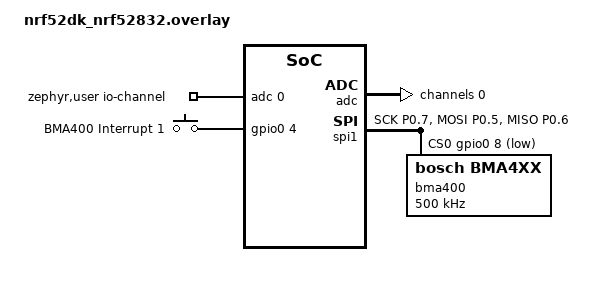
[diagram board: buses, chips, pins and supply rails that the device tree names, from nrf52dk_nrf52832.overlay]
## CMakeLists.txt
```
#
# Copyright (c) 2024 Nordic Semiconductor
#
# SPDX-License-Identifier: LicenseRef-Nordic-5-Clause
#

cmake_minimum_required(VERSION 3.20.0)
find_package(Zephyr REQUIRED HINTS $ENV{ZEPHYR_BASE})
project(bma400_sample)

add_subdirectory(ei-v8)
target_sources(app PRIVATE src/main.c)
target_sources(app PRIVATE src/bma400.c)
target_sources(app PRIVATE src/run_nn.c)
target_sources(app PRIVATE src/ei_glue_v4.cpp)
# Add CMSIS-NN include directories
target_include_directories(app PRIVATE
    ${CMAKE_CURRENT_SOURCE_DIR}/include
)
zephyr_link_libraries(stdc++)
zephyr_link_libraries(supc++)
```

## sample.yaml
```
sample:
  description: nRF Connect SDK Intermediate Course by Nordic Developer Academy (https://academy.nordicsemi.com/)
  name: nRF Connect SDK Intermediate Course - Lesson 5 Exercise 1
  
common: 
    sysbuild: true
    build_only: true
    skip: true
    integration_platforms: 
      - nrf52dk/nrf52832
      - nrf52833dk/nrf52833
      - nrf52840dk/nrf52840
      - nrf9160dk/nrf9160/ns
      - nrf9161dk/nrf9161/ns
      - nrf9151dk/nrf9151/ns
      - nrf5340dk/nrf5340/cpuapp
      - nrf5340dk/nrf5340/cpuapp/ns
      - nrf54l15dk/nrf54l15/cpuapp
      - nrf54l15dk/nrf54l15/cpuapp/ns
      - nrf7002dk/nrf5340/cpuapp
      - nrf7002dk/nrf5340/cpuapp/ns
    platform_exclude:
      - native_sim
    
tests:
  ncs_inter.l5.e1: {}
```

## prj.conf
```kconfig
# # PCB
CONFIG_STATIC_INIT_GNU=y

# # SPI and GPIO
# CONFIG_GPIO=y
# CONFIG_SPI=y

# # Serial driver (needed by console subsystem); route output to RTT not UART
# CONFIG_SERIAL=n
# CONFIG_CONSOLE=n
# CONFIG_UART_CONSOLE=n

# # Logging via RTT
# CONFIG_LOG=y
# CONFIG_RTT_CONSOLE=y


# # Power management
# CONFIG_PM_DEVICE=y
# CONFIG_PM_DEVICE_RUNTIME=y

# # BLE (GATT peripheral for web dashboard)
# CONFIG_BT=y
# CONFIG_BT_PERIPHERAL=y
# CONFIG_BT_DEVICE_NAME="AccelDevice"

# # Larger BLE buffers to avoid "Event buffer too small" / -12 / kernel panic
# # RX buffer must fit max HCI event (2 + 255 = 257). Use ACL size >= 257 so BT_BUF_RX_SIZE >= 257.


# # FPU for ML inference
# CONFIG_FPU=y

# # Stack
# CONFIG_MAIN_STACK_SIZE=1024

# # Disable MPU stack guard (nRF52832 has only 8 MPU regions)
# CONFIG_HW_STACK_PROTECTION=n

# # ADC (enabled for solar PCB overlay)
# CONFIG_ADC=y
# CONFIG_BT_CTLR_TX_PWR_MINUS_20=y


CONFIG_LOG=y
CONFIG_LOG_MODE_IMMEDIATE=y
CONFIG_THREAD_NAME=y
 
# BLE
CONFIG_BT=y
CONFIG_BT_DEVICE_NAME="BHAR"
CONFIG_BT_OBSERVER=y
CONFIG_BT_SCAN=y
CONFIG_BT_SCAN_FILTER_ENABLE=y
CONFIG_BT_CENTRAL=y
CONFIG_BT_PERIPHERAL=y
CONFIG_BT_SCAN_ADDRESS_CNT=5
CONFIG_MAIN_STACK_SIZE=16384
CONFIG_BT_RX_STACK_SIZE=4096
# CONFIG_LOG_BUFFER_SIZE=10120
```

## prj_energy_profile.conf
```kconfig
# Enable logging so ENERGY_PROFILE summary lines appear on RTT when running ./jlink.sh
# Build with: west build -b nrf52dk/nrf52832 -d build -- -DEXTRA_CONF_FILE=prj_energy_profile.conf
# Or from project root: ./build.sh then reconfigure with -DEXTRA_CONF_FILE=prj_energy_profile.conf
CONFIG_LOG=y
CONFIG_LOG_DEFAULT_LEVEL=3
```

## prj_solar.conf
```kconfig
# Solar-optimized build: reduce logging to save power.
# Use with: west build -- -DEXTRA_CONF_FILES=prj_solar.conf
# (merges with prj.conf; log level 1 = errors only).
CONFIG_LOG_DEFAULT_LEVEL=1
```

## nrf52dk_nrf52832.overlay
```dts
/* STEP 2.1 - Create an overlay file for your board */

#include <zephyr/dt-bindings/regulator/nrf5x.h>

/{
	zephyr,user {
		io-channels = <&adc 0>;
	};
};

&adc {
	#address-cells = <1>;
	#size-cells = <0>;
	status = "okay";
	channel@0 {
		reg = <0>;
		zephyr,gain = "ADC_GAIN_1_3";
		zephyr,reference = "ADC_REF_INTERNAL";
		zephyr,acquisition-time = <ADC_ACQ_TIME(ADC_ACQ_TIME_MICROSECONDS, 10)>;
		zephyr,input-positive = <NRF_SAADC_AIN0>; /* P0.02 for nRF52xx, P0.04 for nRF53xx */
		zephyr,resolution = <12>;
	};
};


/{
    inputs {
        compatible = "gpio-keys";
        bmaint1: bmaint_1 {
            gpios = <&gpio0 4 (GPIO_PULL_DOWN | GPIO_ACTIVE_HIGH)>;
            label = "BMA400 Interrupt 1";
        };
    };

    aliases {
        int1 = &bmaint1;
    };
};

/* STEP 2.2 - Change the pin configuration */
&i2c0 {	status = "disabled";};
&spi0 {	status = "disabled";};
&i2c1 {	status = "disabled";}; 
&uart0 { status = "disabled";}; 
&spi2 { status = "disabled";};
&pwm0 { status = "disabled";};
&gpio0 {
	status = "okay";
	sense-edge-mask = < 0xffffffff >;
};
&spi1 {
 compatible = "nordic,nrf-spi"; //using SPI as per ERRATA 58
 status = "okay";
 pinctrl-0 = <&spi1_default>;
 pinctrl-1 = <&spi1_sleep>;
 pinctrl-names = "default", "sleep";
 cs-gpios = <&gpio0 8 GPIO_ACTIVE_LOW>;
 bma400: bma400@0 {
 compatible = "bosch,bma4xx";
 reg = <0>;
 spi-max-frequency = <500000>;
 };
};

&pinctrl {
 spi1_default: spi1_default {
 group1 {
 psels = <NRF_PSEL(SPIM_SCK, 0, 7)>, 
 <NRF_PSEL(SPIM_MOSI, 0, 5)>,
 <NRF_PSEL(SPIM_MISO, 0, 6)>;
 };
 };
 spi1_sleep: spi1_sleep {
 group1 {
 psels = <NRF_PSEL(SPIM_SCK, 0, 7)>,
 <NRF_PSEL(SPIM_MOSI, 0, 5)>,
 <NRF_PSEL(SPIM_MISO, 0, 6)>;
 low-power-enable;
 };
 };
};

/* nRF52 DC-DC: lower average current for solar / limited supply */
&reg {
	regulator-initial-mode = <NRF5X_REG_MODE_DCDC>;
};
```

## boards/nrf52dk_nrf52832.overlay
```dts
/*
 * Devicetree overlay for west builds with board `nrf52dk/nrf52832`.
 *
 * This file was missing on branch scanningOnNewBoard, which broke CMake with:
 *   "boards/nrf52dk_nrf52832.overlay: No such file or directory"
 * because an older build cache still referenced this path.
 *
 * The BLE advertising scanner firmware does not require custom hardware
 * nodes here; add pins/sensors under `/` or `&spi1` etc. when you wire them.
 */

/ {
};
```

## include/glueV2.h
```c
#ifndef GLUEV2_H_
#define GLUEV2_H_

#ifdef __cplusplus
extern "C" {
#endif

int ei_v2_classify_test(const char **out_label, float *out_score);
extern float demo_data[75];

extern const unsigned int ei_model_arena_size;
extern const unsigned int ei_model_tflite_len;

#ifdef __cplusplus
}
#endif

#endif
```

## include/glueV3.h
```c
#ifndef GLUEV4_H_
#define GLUEV4_H_

#ifdef __cplusplus
extern "C" {
#endif

int ei_v4_classify_test(const char **out_label, float *out_score);
extern float demo_data[75];

extern const unsigned int ei_model_arena_size;
extern const unsigned int ei_model_tflite_len;

#ifdef __cplusplus
}
#endif

#endif
```

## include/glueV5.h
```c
#ifndef GLUEV5_H_
#define GLUEV5_H_

#ifdef __cplusplus
extern "C" {
#endif

int ei_v5_classify_test(const char **out_label, float *out_score);
extern float demo_data[75];

extern const unsigned int ei_model_arena_size;
extern const unsigned int ei_model_tflite_len;

#ifdef __cplusplus
}
#endif

#endif
```

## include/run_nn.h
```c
#ifndef RUN_NN_H_
#define RUN_NN_H_

#include <stdint.h>
#include "bma400_defs.h"

#ifdef __cplusplus
extern "C" {
#endif

/* Run inference on accel_data and set biggest_idx (0-4 for EI model classes). */
void run_nn_infer(struct bma400_fifo_sensor_data *accel_data, uint16_t count);

/* Set by run_nn_infer: 0=idle, 1=clap, 2=sixseven, 3=floss, 4=walking */
extern int biggest_idx;

#ifdef __cplusplus
}
#endif

#endif /* RUN_NN_H_ */
```

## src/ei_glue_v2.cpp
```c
/**
 * ei_glue_v2.cpp - C-callable wrapper for the ei-v2 Edge Impulse model
 * 
 * This file uses the ei-v2 model which expects 75 input features.
 * Input shape: (3, 25, 1) - 3 features, 25 time steps, 1 channel.
 * TensorFlow flattens this column-by-column (all of feature 0, then feature 1, then feature 2).
 * For testing, we use real demo data from the training set.
 */

#include "edge-impulse-sdk/classifier/ei_run_classifier.h"
#include "edge-impulse-sdk/dsp/numpy.hpp"
#include "model-parameters/model_metadata.h"
#include "tflite-model/tflite_learn_801862_52.h"
#include <stdio.h>
float demo_data[75] = {};
extern "C" {
    extern const unsigned int ei_model_arena_size  = EI_CLASSIFIER_TFLITE_LARGEST_ARENA_SIZE;
    extern const unsigned int ei_model_tflite_len  = tflite_learn_801862_52_len;
}

extern "C" int ei_v2_classify_test(const char **out_label, float *out_score)
{
    // Copy demo data to mutable buffer (required by signal_from_buffer)
    static float features[75];
    for (int i = 0; i < 75; i++) {
        features[i] = demo_data[i];
    }

    // Wrap features in a signal
    signal_t signal;
    if (numpy::signal_from_buffer(features, 75, &signal) != 0) {
        return -98;
    }

    ei_impulse_result_t result = {};
    EI_IMPULSE_ERROR err = run_classifier(&signal, &result, /*debug*/ false);
    if (err != EI_IMPULSE_OK) {
        return static_cast<int>(err);
    }

    for (int i = 0; i < EI_CLASSIFIER_LABEL_COUNT; i++) {
    printf("class %d = %s (%.2f)\n", i, 
           result.classification[i].label,
           result.classification[i].value);
    }   
    // Find the top class
    size_t best_i = 0;
    float  best_v = result.classification[0].value;
    for (size_t i = 1; i < EI_CLASSIFIER_LABEL_COUNT; i++) {
        if (result.classification[i].value > best_v) {
            best_v = result.classification[i].value;
            best_i = i;
        }
    }

    if (out_label) *out_label = result.classification[best_i].label;
    if (out_score) *out_score = best_v;
    return 0;
}
```

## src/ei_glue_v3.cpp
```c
/**
 * ei_glue_v3.cpp - C-callable wrapper for the ei-v3 Edge Impulse model
 *
 * This file uses the ei-v3 model which expects 75 input features.
 * Input shape: (3, 25, 1) - 3 features, 25 time steps, 1 channel.
 * TensorFlow flattens this column-by-column (all of feature 0, then feature 1, then feature 2).
 * For testing, we use real demo data from the training set.
 */

#include "edge-impulse-sdk/classifier/ei_run_classifier.h"
#include "edge-impulse-sdk/dsp/numpy.hpp"
#include "model-parameters/model_metadata.h"
#include "tflite-model/tflite_learn_801862_19.h"

float demo_data[75] = {};
extern "C" {
    extern const unsigned int ei_model_arena_size  = EI_CLASSIFIER_TFLITE_LARGEST_ARENA_SIZE;
    extern const unsigned int ei_model_tflite_len  = tflite_learn_801862_19_len;
}

extern "C" int ei_v3_classify_test(const char **out_label, float *out_score)
{
    static float features[75];
    for (int i = 0; i < 75; i++) {
        features[i] = demo_data[i];
    }

    signal_t signal;
    if (numpy::signal_from_buffer(features, 75, &signal) != 0) {
        return -98;
    }

    ei_impulse_result_t result = {};
    EI_IMPULSE_ERROR err = run_classifier(&signal, &result, /*debug*/ false);
    if (err != EI_IMPULSE_OK) {
        return static_cast<int>(err);
    }

    size_t best_i = 0;
    float  best_v = result.classification[0].value;
    for (size_t i = 1; i < EI_CLASSIFIER_LABEL_COUNT; i++) {
        if (result.classification[i].value > best_v) {
            best_v = result.classification[i].value;
            best_i = i;
        }
    }

    if (out_label) *out_label = result.classification[best_i].label;
    if (out_score) *out_score = best_v;
    return 0;
}
```

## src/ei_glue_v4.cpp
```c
/**
 * ei_glue_v4.cpp - C-callable wrapper for the ei-v4 Edge Impulse model
 *
 * This file uses the ei-v4 model which expects 75 input features.
 * Input shape: (3, 25, 1) - 3 features, 25 time steps, 1 channel.
 * TensorFlow flattens this column-by-column (all of feature 0, then feature 1, then feature 2).
 */

#include "edge-impulse-sdk/classifier/ei_run_classifier.h"
#include "edge-impulse-sdk/dsp/numpy.hpp"
#include "model-parameters/model_metadata.h"
#include "tflite-model/tflite_learn_801862_52.h"

float demo_data[75] = {};
extern "C" {
    extern const unsigned int ei_model_arena_size  = EI_CLASSIFIER_TFLITE_LARGEST_ARENA_SIZE;
    extern const unsigned int ei_model_tflite_len  = tflite_learn_801862_52_len;
}

extern "C" int ei_v4_classify_test(const char **out_label, float *out_score)
{
    static float features[75];
    for (int i = 0; i < 75; i++) {
        features[i] = demo_data[i];
    }

    signal_t signal;
    if (numpy::signal_from_buffer(features, 75, &signal) != 0) {
        return -98;
    }

    ei_impulse_result_t result = {};
    EI_IMPULSE_ERROR err = run_classifier(&signal, &result, /*debug*/ false);
    if (err != EI_IMPULSE_OK) {
        return static_cast<int>(err);
    }

    size_t best_i = 0;
    float  best_v = result.classification[0].value;
    for (size_t i = 1; i < EI_CLASSIFIER_LABEL_COUNT; i++) {
        if (result.classification[i].value > best_v) {
            best_v = result.classification[i].value;
            best_i = i;
        }
    }

    if (out_label) *out_label = result.classification[best_i].label;
    if (out_score) *out_score = best_v;
    return 0;
}
```

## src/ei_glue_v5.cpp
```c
/**
 * ei_glue_v5.cpp - C-callable wrapper for the ei-v5 Edge Impulse model
 *
 * This file uses the ei-v5 model which expects 75 input features.
 * Input shape: (3, 25, 1) - 3 features, 25 time steps, 1 channel.
 * TensorFlow flattens this column-by-column (all of feature 0, then feature 1, then feature 2).
 * Callers fill demo_data[75], then call ei_v5_classify_test() to get the top class.
 */

#include "edge-impulse-sdk/classifier/ei_run_classifier.h"
#include "edge-impulse-sdk/dsp/numpy.hpp"
#include "model-parameters/model_metadata.h"
#include "tflite-model/tflite_learn_801862_31.h"
#include <stdio.h>

float demo_data[75] = {};

extern "C" {
    extern const unsigned int ei_model_arena_size  = EI_CLASSIFIER_TFLITE_LARGEST_ARENA_SIZE;
    extern const unsigned int ei_model_tflite_len  = tflite_learn_801862_31_len;
}

extern "C" int ei_v5_classify_test(const char **out_label, float *out_score)
{
    // Copy demo data to mutable buffer (required by signal_from_buffer)
    static float features[75];
    for (int i = 0; i < 75; i++) {
        features[i] = demo_data[i];
    }

    // Wrap features in a signal
    signal_t signal;
    if (numpy::signal_from_buffer(features, 75, &signal) != 0) {
        return -98;
    }

    ei_impulse_result_t result = {};
    EI_IMPULSE_ERROR err = run_classifier(&signal, &result, /*debug*/ false);
    if (err != EI_IMPULSE_OK) {
        return static_cast<int>(err);
    }

    for (int i = 0; i < EI_CLASSIFIER_LABEL_COUNT; i++) {
        printf("class %d = %s (%.2f)\n", i,
               result.classification[i].label,
               result.classification[i].value);
    }

    // Find the top class
    size_t best_i = 0;
    float  best_v = result.classification[0].value;
    for (size_t i = 1; i < EI_CLASSIFIER_LABEL_COUNT; i++) {
        if (result.classification[i].value > best_v) {
            best_v = result.classification[i].value;
            best_i = i;
        }
    }

    if (out_label) *out_label = result.classification[best_i].label;
    if (out_score) *out_score = best_v;
    return 0;
}
```

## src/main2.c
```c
/*
 * Copyright (c) 2024 Nordic Semiconductor ASA
 *
 * SPDX-License-Identifier: LicenseRef-Nordic-5-Clause
 */

 #include <zephyr/kernel.h>
 #include <zephyr/logging/log.h>
 #include <zephyr/device.h>
 #include <zephyr/pm/device.h>
 #include <zephyr/devicetree.h>
 #include <zephyr/drivers/gpio.h>
 #include <zephyr/drivers/spi.h>
 #include "bma400.h"
 #include "bma400_defs.h"
 
 #include "run_nn.h"
 
 #include <zephyr/bluetooth/bluetooth.h>
 #include <zephyr/bluetooth/addr.h>
 #include <zephyr/drivers/adc.h>
 
 LOG_MODULE_REGISTER(app, LOG_LEVEL_DBG);
 
 #define DEVICE_NAME CONFIG_BT_DEVICE_NAME
 #define DEVICE_NAME_LEN (sizeof(DEVICE_NAME) - 1)
 
 /* STEP 2.1 - Declare the Company identifier (Company ID) */
 #define COMPANY_ID_CODE 0x0059
 
 int16_t buf;
 
 bool last_tx_done = true;
 
 /* STEP 2.2 - Declare the structure for your custom data  */
 typedef struct adv_mfg_data {
	 uint16_t company_code; /* Company Identifier Code. */
	 uint8_t pred;
	 // uint8_t samples[24];
 } adv_mfg_data_type;
 
 struct adc_sequence sequence;
 
 
 static const struct adc_dt_spec adc_channel = ADC_DT_SPEC_GET(DT_PATH(zephyr_user));
 
 static const struct bt_le_adv_param *adv_param =
	 BT_LE_ADV_PARAM(BT_LE_ADV_OPT_USE_IDENTITY, /* No options specified */
			 32, /* Min Advertising Interval 250ms (400*0.625ms) */
			 33, /* Max Advertising Interval 250.625ms (401*0.625ms) */
			 NULL); /* Set to NULL for undirected advertising */
 /* STEP 2.3 - Define and initialize a variable of type adv_mfg_data_type */
 // static adv_mfg_data_type adv_mfg_data = { COMPANY_ID_CODE, 0x01 };
 static adv_mfg_data_type adv_mfg_data = {
	 .company_code = COMPANY_ID_CODE,
	 .pred = 0x0
	 // .samples = { 0x01, 0x02, 0x03, 0x04, 0x05, 0x06,
	 //              0x07, 0x08, 0x09, 0x0A, 0x0B, 0x0C,
	 //              0x0D, 0x0E, 0x0F, 0x10, 0x11, 0x12,
	 //              0x13, 0x14, 0x15, 0x16, 0x17, 0x18 }
 };
 // static adv_mfg_data_type adv_mfg_data = {
 //     .company_code = COMPANY_ID_CODE,
 //     .samples = { 0x01, 0x02, 0x03, 0x04 }
 // };
 // TODO: I think this payload is too big, need to maybe remove or shorten the name
 static const struct bt_data ad[] = {
	 // BT_DATA_BYTES(BT_DATA_FLAGS, BT_LE_AD_NO_BREDR),
	 // BT_DATA(BT_DATA_NAME_COMPLETE, DEVICE_NAME, DEVICE_NAME_LEN),
	 /* STEP 3 - Include the Manufacturer Specific Data in the advertising packet. */
	 BT_DATA(BT_DATA_MANUFACTURER_DATA, (unsigned char *)&adv_mfg_data, sizeof(adv_mfg_data)),
 };
 // threads
 #define STACKSIZE 1024
 #define THREAD_READ_BMA_PRIORITY 7
 #define THREAD_RUN_POLICY_PRIORITY 8
 K_SEM_DEFINE(bma400_ready, 0, 1);
 K_SEM_DEFINE(run_policy, 0, 1);
 
 // SPI
 #define SPIOP	SPI_WORD_SET(8) | SPI_TRANSFER_MSB
 struct spi_dt_spec spispec = SPI_DT_SPEC_GET(DT_NODELABEL(bma400), SPIOP, 0);
 uint8_t rx_buffer[128] = {0};
 
 // interrupt GPIO
 #define int_NODE DT_ALIAS(int1)
 static const struct gpio_dt_spec int_pin = GPIO_DT_SPEC_GET(int_NODE, gpios);
 static struct gpio_callback int_cb_data;
 
 // BMA400
 #define BMA400_REG_FIFO_CONFIG_1                  UINT8_C(0x27)
 #define FIFOINTER 3
 #define FIFO_SAMPLES 25 // number of samples for fifo content
 #define FIFO_WATERMARK_LEVEL    UINT16_C(FIFO_SAMPLES*4) // 4 bytes per frame (XYZ+header)
 #define FIFO_FULL_SIZE          UINT16_C(1024)
 #define FIFO_SIZE               (FIFO_FULL_SIZE + BMA400_FIFO_BYTES_OVERREAD)
 #define FIFO_ACCEL_FRAME_COUNT  UINT8_C(FIFO_SAMPLES)
 
 BMA400_INTF_RET_TYPE read_reg_spi(uint8_t reg_address, uint8_t* data, uint32_t len, void* intf_ptr);
 BMA400_INTF_RET_TYPE write_reg_spi(uint8_t reg_address, const uint8_t* data, uint32_t len, void* intf_ptr);
 void bma400_delay_us(uint32_t period, void *intf_ptr) {
	 k_usleep(period);
 }
 
 static uint8_t              dev_addr    = 31;
 struct bma400_dev           bma_sensor         = {
		 .intf = BMA400_SPI_INTF,
		 .intf_ptr = &dev_addr,
		 .read = read_reg_spi,
		 .write = write_reg_spi,
		 .delay_us = bma400_delay_us,
		 .read_write_len = 8
 };
 
 struct bma400_sensor_data acc_data;
 
 struct bma400_int_enable int_en;
 struct bma400_fifo_data fifo_frame;
 struct bma400_device_conf fifo_conf;
 struct bma400_sensor_conf conf;
 uint8_t fifo_buff[FIFO_SIZE] = { 0 };
 
 struct bma400_fifo_sensor_data accel_data[FIFO_ACCEL_FRAME_COUNT] = { { 0 } };
 struct bma400_sensor_conf settings;
 
 // // Right Arm
 // float mean = 1.83;
 // float std = 6.09;
 
 // // Left Arm
 // float mean = 4.48;
 // float std = 4.56;
 
 // Left Leg
 float mean = 4.67;
 float std = 5.58;
 
 
 void bma_int_handler(const struct device *dev, struct gpio_callback *cb, uint32_t pins)
 {
	 // set the semaphore
	 k_sem_give(&bma400_ready);
 }
 
 
 void thread_read_bma400(void)
 {
	 while(1){
		 LOG_INF("In the read thread");
		 k_sem_take(&bma400_ready, K_FOREVER); // Sleep here if semaphore is at 0

		 // Enable SPI
		 const struct device *cons = DEVICE_DT_GET(DT_NODELABEL(spi1));
		 pm_device_action_run(cons, PM_DEVICE_ACTION_RESUME);

		 // read data from bma400 fifo
		 bma400_get_fifo_data(&fifo_frame, &bma_sensor);
		 uint16_t accel_frames_req = FIFO_SAMPLES;
		 bma400_extract_accel(&fifo_frame, accel_data, &accel_frames_req, &bma_sensor);
		 // LOG_INF("Read FIFO Data, disabling BMA");

		 // after reading, disable the interrupt and put the bma400 to sleep
		 int_en.type = BMA400_FIFO_WM_INT_EN;
		 int_en.conf = BMA400_DISABLE;
		 (void)bma400_enable_interrupt(&int_en, 1, &bma_sensor);
		 bma400_set_power_mode(BMA400_MODE_SLEEP,&bma_sensor);
 
		 // Disable SPI
		 pm_device_action_run(cons, PM_DEVICE_ACTION_SUSPEND);

		 // Run neural network inference; sets biggest_idx for adv_mfg_data.pred
		 run_nn_infer(accel_data, accel_frames_req);

		 // transmit the predicted class index
		 adv_mfg_data.pred = biggest_idx;
 
		 if(biggest_idx == 0)
		 {
			 LOG_INF("Wave");
		 }
		 else if(biggest_idx == 1)
		 {
			 LOG_INF("Shake");
		 }
		 else if(biggest_idx == 2)
		 {
			 LOG_INF("Clap");
		 }
		 else if(biggest_idx == 3)
		 {
			 LOG_INF("Nothing");
		 }
 
		 bt_le_adv_update_data(ad, ARRAY_SIZE(ad), NULL, 0); // update adv data
		 bt_le_adv_start(adv_param, ad, ARRAY_SIZE(ad), NULL, 0); // start advertising
		 k_sleep(K_MSEC(10)); // wait at least one cycle
		 bt_le_adv_stop(); // stop advertising
		 last_tx_done = true;
 
	 }
 }
 
 // Need to make sure stack is big enough to run NN code
 K_THREAD_DEFINE(thread_read_bma400_id, STACKSIZE*4, thread_read_bma400, NULL, NULL, NULL, THREAD_READ_BMA_PRIORITY, 0, 0);
 
 
 
 BMA400_INTF_RET_TYPE read_reg_spi(uint8_t reg_address, uint8_t* data, uint32_t len, void* intf_ptr)
 {
	 int err;
 
	 /* STEP 4.1 - Set the transmit and receive buffers */
	 // When reading the BMA400, the first byte read is a dummy, so we need to read two bytes and interpret the second one
	 // For a transceive there are 3 steps:
	 //		   |       step 1         | step 2 | step 3
	 //	Master | 1[7 bit reg address] |  0x0   |   0x0
	 //	Slave  |	     dummy        | dummy  | data from sensor	
	 // therefore, if we want to read 1 byte from the sensor, we need to read 3 bytes from the sensor (1 during send, 2 during read)
	 // Since the BMA400 API already adds the dummy byte, we only need to add one more byte
	 // This extra byte is because the first read happens during the register write, so we need to read again	
 
	 uint8_t tx_buffer = reg_address;
	 struct spi_buf tx_spi_buf		= {.buf = (void *)&tx_buffer, .len = 1};
	 struct spi_buf_set tx_spi_buf_set 	= {.buffers = &tx_spi_buf, .count = 1};
	 struct spi_buf rx_spi_bufs 		= {.buf = rx_buffer, .len = len+1};
	 struct spi_buf_set rx_spi_buf_set	= {.buffers = &rx_spi_bufs, .count = 1};
	 
 
	 /* STEP 4.2 - Call the transceive function */
	 err = spi_transceive_dt(&spispec, &tx_spi_buf_set, &rx_spi_buf_set);
	 if (err < 0) {
		 LOG_ERR("spi_transceive_dt() failed, err: %d, 0x%02X", err,tx_buffer);
		 // return err;
	 }
 
	 for(int i = 0; i < len; i++)
	 {
		 data[i] = rx_buffer[i+1]; // data[0] = dummy byte, data[1] = data
	 }
 
	 return 0;
 }
 
 BMA400_INTF_RET_TYPE write_reg_spi(uint8_t reg_address, const uint8_t* data, uint32_t len, void* intf_ptr)
 {
	 int err;
 
	 /* STEP 5.1 - delcare a tx buffer having register address and data */
	 // When writing to the BMA400, the first byte read is an adress, so we need to write two bytes
	 // For a transceive there are 2 steps:
	 //		   |       step 1         | step 2 |
	 //	Master | 1[7 bit reg address] |  val   |
	 //	Slave  |	     dummy        | dummy  |
	 // therefore, if we want to write 1 byte to the sensor, we need to write 2 bytes from the sensor (1 adress, 1 data)
	 uint8_t tx_buf[2] = {reg_address, data[0]}; // to write, set the MSB to 0
	 struct spi_buf	tx_spi_buf 		= {.buf = tx_buf, .len = len+1};
	 struct spi_buf_set tx_spi_buf_set	= {.buffers = &tx_spi_buf, .count = 1};
 
	 /* STEP 5.2 - call the spi_write_dt function with SPISPEC to write buffers */
	 err = spi_write_dt(&spispec, &tx_spi_buf_set);
	 if (err < 0) {
		 LOG_ERR("spi_write_dt() failed, err %d", err);
		 return err;
	 }
 
	 return 0;
 }
 
 void init_fifo_watermark()
 {
	 conf.type = BMA400_ACCEL;
	 int8_t rslt = bma400_get_sensor_conf(&conf, 1, &bma_sensor);
 
	 conf.param.accel.odr = BMA400_ODR_25HZ;
	 conf.param.accel.range = BMA400_RANGE_4G;
	 conf.param.accel.data_src = BMA400_DATA_SRC_ACCEL_FILT_1;
 
	 rslt = bma400_set_sensor_conf(&conf, 1, &bma_sensor);
 
	 fifo_conf.type = BMA400_FIFO_CONF;
 
	 rslt = bma400_get_device_conf(&fifo_conf, 1, &bma_sensor);
 
	 fifo_conf.param.fifo_conf.conf_regs = BMA400_FIFO_8_BIT_EN | BMA400_FIFO_X_EN 
										 | BMA400_FIFO_Y_EN 
										 | BMA400_FIFO_Z_EN
										 | BMA400_FIFO_AUTO_FLUSH;   // flush on power mode change
	 fifo_conf.param.fifo_conf.conf_status = BMA400_ENABLE;
	 fifo_conf.param.fifo_conf.fifo_watermark = FIFO_WATERMARK_LEVEL;
	 fifo_conf.param.fifo_conf.fifo_wm_channel = BMA400_INT_CHANNEL_1;
 
	 rslt = bma400_set_device_conf(&fifo_conf, 1, &bma_sensor);
 
	 fifo_frame.data = fifo_buff;
	 fifo_frame.length = FIFO_SIZE;
 
	 int_en.type = BMA400_FIFO_WM_INT_EN;
	 int_en.conf = BMA400_DISABLE;
 
	 bma400_set_power_mode(BMA400_MODE_LOW_POWER,&bma_sensor);
	 rslt = bma400_enable_interrupt(&int_en, 1, &bma_sensor);
 }
 
 void init_activity()
 {
	 settings.type = BMA400_GEN1_INT;
	 bma400_get_sensor_conf(&settings, 1, &bma_sensor);
 
	 settings.param.gen_int.int_chan = BMA400_INT_CHANNEL_1;
	 settings.param.gen_int.axes_sel = BMA400_AXIS_XYZ_EN;
	 settings.param.gen_int.data_src = BMA400_DATA_SRC_ACC_FILT2;
	 settings.param.gen_int.criterion_sel = BMA400_ACTIVITY_INT;
	 settings.param.gen_int.evaluate_axes = BMA400_ANY_AXES_INT;
	 settings.param.gen_int.ref_update = BMA400_UPDATE_EVERY_TIME;
	 settings.param.gen_int.hysteresis = BMA400_HYST_48_MG;
	 settings.param.gen_int.gen_int_thres = 0x10;
	 settings.param.gen_int.gen_int_dur = 15;
 
	 bma400_set_sensor_conf(&settings, 1, &bma_sensor);
 
	 int_en.type = BMA400_GEN1_INT_EN;
	 int_en.conf = BMA400_ENABLE;
 
	 bma400_set_power_mode(BMA400_MODE_NORMAL,&bma_sensor);
	 bma400_enable_interrupt(&int_en, 1, &bma_sensor);
 }
 
 void init_read_lp()
 {
	 conf.type = BMA400_ACCEL;
	 int8_t rslt = bma400_get_sensor_conf(&conf, 1, &bma_sensor);
 
	 conf.param.accel.odr = BMA400_ODR_25HZ;
	 conf.param.accel.range = BMA400_RANGE_4G;
	 conf.param.accel.data_src = BMA400_DATA_SRC_ACCEL_FILT_1;
	 conf.param.accel.osr_lp = BMA400_ACCEL_OSR_SETTING_0;
	 conf.param.accel.int_chan = BMA400_INT_CHANNEL_1;
 
	 rslt = bma400_set_sensor_conf(&conf, 1, &bma_sensor);
 
	 int_en.type = BMA400_DRDY_INT_EN;
	 int_en.conf = BMA400_ENABLE;
 
	 bma400_set_power_mode(BMA400_MODE_LOW_POWER,&bma_sensor);
	 bma400_enable_interrupt(&int_en, 1, &bma_sensor);
 }
 
 
 
 static void timer0_handler(struct k_timer *dummy)
 {
	 // set the semaphore
	 k_sem_give(&run_policy);
 }
 
 void thread_run_policy(void)
 {
	 while(1)
	 {
		 k_sem_take(&run_policy, K_FOREVER); // Sleep here if semaphore is at 0
		 static int val_mv;
		 // 1. Read the ADC and convert to uJ
		 // LOG_INF("---------- Time: %d ----------",current_time);
		 int8_t err = adc_read(adc_channel.dev, &sequence);
		 if (err < 0) {
			 LOG_ERR("Could not read (%d)", err);
		 }
		 val_mv = (int)buf;
		 err = adc_raw_to_millivolts_dt(&adc_channel, &val_mv);
		 // val_mv = val_mv*4; // scale by voltage divider ratio
		 LOG_INF("1. Read ADC: %d mv, scaled: %d mv", val_mv, val_mv*15/10);
		 if(val_mv > 1600 && last_tx_done == true)
		 // if(last_tx_done == true) // battery powered test, just do it every second
		 {
			 int_en.type = BMA400_FIFO_WM_INT_EN;
			 int_en.conf = BMA400_ENABLE;
			 bma400_set_power_mode(BMA400_MODE_NORMAL,&bma_sensor);
			 bma400_enable_interrupt(&int_en, 1, &bma_sensor);
			 last_tx_done = false;
		 }
		 
	 }
 }
 K_THREAD_DEFINE(thread_run_policy_id, STACKSIZE, thread_run_policy, NULL, NULL, NULL, THREAD_RUN_POLICY_PRIORITY, 0, 0);
 K_TIMER_DEFINE(timer0, timer0_handler, NULL);
 
 
 
 
 int main(void)
 {
	 int err;
 
	 // Fix the BLE address
	 bt_addr_le_t addr;
	 err = bt_addr_le_from_str("FF:EE:DD:CC:BB:AD", "random", &addr);
	 err = bt_id_create(&addr, NULL);
 
	 // Enable BLE
	 err = bt_enable(NULL);
	 if (err) {
		 LOG_ERR("Bluetooth init failed (err %d)\n", err);
		 return -1;
	 }
	 
	 /* STEP 10.1 - Check if SPI and GPIO devices are ready */
	 err = spi_is_ready_dt(&spispec);
	 if (!err) {
		 LOG_ERR("Error: SPI device is not ready, err: %d", err);
		 return 0;
	 }
 
	 if (!device_is_ready(int_pin.port)) {
		 return -1;
	 }
 
	 err = gpio_pin_configure_dt(&int_pin, GPIO_INPUT);
	 if (err < 0) {
		 return -1;
	 }
	 /* STEP 3 - Configure the interrupt on the button's pin */
	 err = gpio_pin_interrupt_configure_dt(&int_pin, GPIO_INT_EDGE_RISING);
	 // err = gpio_pin_interrupt_configure_dt(&int_pin, GPIO_INT_LEVEL_ACTIVE);
 
	 /* STEP 6 - Initialize the static struct gpio_callback variable   */
	 gpio_init_callback(&int_cb_data, bma_int_handler, BIT(int_pin.pin));
 
	 /* STEP 7 - Add the callback function by calling gpio_add_callback()   */
	 gpio_add_callback(int_pin.port, &int_cb_data);
 
 
	 sequence.buffer = &buf;
	 sequence.buffer_size = sizeof(buf);
 
	 /* STEP 3.3 - validate that the ADC peripheral (SAADC) is ready */
	 if (!adc_is_ready_dt(&adc_channel)) {
		 LOG_ERR("ADC controller devivce %s not ready", adc_channel.dev->name);
		 return 0;
	 }
	 /* STEP 3.4 - Setup the ADC channel */
	 err = adc_channel_setup_dt(&adc_channel);
	 if (err < 0) {
		 LOG_ERR("Could not setup channel #%d (%d)", 0, err);
		 return 0;
	 }
	 /* STEP 4.2 - Initialize the ADC sequence */
	 err = adc_sequence_init_dt(&adc_channel, &sequence);
	 if (err < 0) {
		 LOG_ERR("Could not initalize sequnce");
		 return 0;
	 }
 
	 LOG_INF("====================== APP START=======***************************");
	 bma400_init(&bma_sensor);
	 // init_read_lp();
	 init_fifo_watermark();
 
	 
 
	 const struct device *cons = DEVICE_DT_GET(DT_NODELABEL(spi1));
	 pm_device_action_run(cons, PM_DEVICE_ACTION_SUSPEND);
 
	 // Do not disable GPIO, need it for interrupt
	 // const struct device *cons1 = DEVICE_DT_GET(DT_NODELABEL(gpio0));
	 // pm_device_action_run(cons1, PM_DEVICE_ACTION_SUSPEND);
	 
	 k_timer_start(&timer0, K_MSEC(200), K_MSEC(200));
 
	 while(1){
		 k_sleep(K_FOREVER);
	 }
 
	 return 0;
 }
```

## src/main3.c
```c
/*
 * Copyright (c) 2024 Nordic Semiconductor ASA
 *
 * SPDX-License-Identifier: LicenseRef-Nordic-5-Clause
 */

/* Solar / batteryless support:
 * USE_SOLAR_GATEKEEPER=1: duty-cycle sensing (run_policy), SPI/BMA400 power down when idle
 * USE_ADC=1: voltage gatekeeper (requires ADC devicetree), only run when V > threshold
 * USE_SLIDING_WINDOW=1: small FIFO chunks + ring buffer for fast sliding-window predictions (~5 Hz).
 * Set both 0 for original battery-powered behavior. */
#define USE_SOLAR_GATEKEEPER 1
#define USE_ADC 1
#define USE_SLIDING_WINDOW 1

#if USE_SOLAR_GATEKEEPER
/* Run-policy timer period (ms). Longer = fewer wake-ups, lower power; 1000 = 1 s. */
#define SOLAR_RUN_POLICY_MS 50
#endif

/* Cycle-to-ns conversion: use Kconfig value; fallback for nRF52 @ 64 MHz */
#ifndef CONFIG_SYS_CLOCK_HW_CYCLES_PER_SEC
#define CONFIG_SYS_CLOCK_HW_CYCLES_PER_SEC 64000000
#endif

/* Energy profiling: set to 1 to measure time/energy per region and print to RTT.
 * Build with CONFIG_LOG=y (e.g. use prj_energy_profile.conf overlay) to see output. */
#define ENERGY_PROFILE 0

#if ENERGY_PROFILE
#define ENERGY_PROFILE_INTERVAL 20
#define CYCLES_TO_US(cyc) ((uint32_t)((uint64_t)(cyc) * 1000000ULL / CONFIG_SYS_CLOCK_HW_CYCLES_PER_SEC))
#define ENERGY_UJ(v_mv, i_ma, us) ((uint32_t)((uint64_t)(v_mv) * (i_ma) * (us) / 1000U))
#define I_INFERENCE_MA 5
#define I_BLE_MA 10
#define I_SPI_BMA_MA 4
#define I_ADC_MA 2
#define I_DATA_PREP_MA 5
#define VOLTAGE_DEFAULT_MV 3300
#endif

// Basic Libs
#include <zephyr/kernel.h>
#include <zephyr/logging/log.h>
#include <zephyr/device.h>
#include <zephyr/pm/device.h>
#include <zephyr/devicetree.h>
#include <zephyr/drivers/gpio.h>
#include <zephyr/drivers/spi.h>
#include <zephyr/sys/util.h>
#include "bma400.h"
#include "glueV3.h"
#include <string.h>
#include "bma400_defs.h"


#if USE_ADC
#include <zephyr/drivers/adc.h>
#endif

#include <zephyr/bluetooth/bluetooth.h>
#include <zephyr/bluetooth/addr.h>

//////////////////////////////////////////////////////////////////////////
//																		//
//				Advertising-only BLE (no connection / GATT)				//
//																		//
//////////////////////////////////////////////////////////////////////////

#define COMPANY_ID_CODE 0x0059

typedef struct __attribute__((packed)) adv_mfg_data {
	uint16_t company_code;
	uint8_t pred;
	int16_t x;
	int16_t y;
	int16_t z;
	uint16_t voltage_mv;
} adv_mfg_data_type;

static adv_mfg_data_type adv_mfg_data = {
	.company_code = COMPANY_ID_CODE,
	.pred = 0x0,
	.x = 0,
	.y = 0,
	.z = 0,
	.voltage_mv = 0xFFFFU
};

static const struct bt_le_adv_param *adv_param =
	BT_LE_ADV_PARAM(BT_LE_ADV_OPT_USE_IDENTITY | BT_LE_ADV_OPT_SCANNABLE,
			32, 33, NULL);

#define ADV_DEVICE_NAME "AccelDev"

static const struct bt_data ad[] = {
	BT_DATA(BT_DATA_MANUFACTURER_DATA, (unsigned char *)&adv_mfg_data,
		sizeof(adv_mfg_data)),
};

static const struct bt_data sd[] = {
	BT_DATA(BT_DATA_NAME_COMPLETE, ADV_DEVICE_NAME, sizeof(ADV_DEVICE_NAME) - 1),
};

#define VOLTAGE_NO_DATA 0xFFFFU

static uint16_t cached_voltage_mv = VOLTAGE_NO_DATA;

LOG_MODULE_REGISTER(app, LOG_LEVEL_INF);

#if ENERGY_PROFILE
static uint64_t total_us_inference;
static uint64_t total_us_ble;
static uint64_t total_us_spi_bma;
static uint64_t total_us_adc;
static uint64_t total_us_data_prep;
static uint32_t calls_inference;
static uint32_t calls_ble;
static uint32_t calls_spi_bma;
static uint32_t calls_adc;
static uint32_t calls_data_prep;
#endif

#if ENERGY_PROFILE
static void energy_profile_print_and_reset(uint16_t voltage_mv)
{
	uint32_t v = (voltage_mv == VOLTAGE_NO_DATA) ? VOLTAGE_DEFAULT_MV : voltage_mv;
	if (calls_inference > 0) {
		uint32_t avg_us = (uint32_t)(total_us_inference / calls_inference);
		uint32_t uj = ENERGY_UJ(v, I_INFERENCE_MA, total_us_inference);
		LOG_INF("ENERGY_PROFILE: inference total_us=%u calls=%u avg_us=%u total_uj=%u",
			(unsigned)total_us_inference, calls_inference, avg_us, uj);
	}
	if (calls_ble > 0) {
		uint32_t avg_us = (uint32_t)(total_us_ble / calls_ble);
		uint32_t uj = ENERGY_UJ(v, I_BLE_MA, total_us_ble);
		LOG_INF("ENERGY_PROFILE: ble_notify total_us=%u calls=%u avg_us=%u total_uj=%u",
			(unsigned)total_us_ble, calls_ble, avg_us, uj);
	}
	if (calls_spi_bma > 0) {
		uint32_t avg_us = (uint32_t)(total_us_spi_bma / calls_spi_bma);
		uint32_t uj = ENERGY_UJ(v, I_SPI_BMA_MA, total_us_spi_bma);
		LOG_INF("ENERGY_PROFILE: spi_bma total_us=%u calls=%u avg_us=%u total_uj=%u",
			(unsigned)total_us_spi_bma, calls_spi_bma, avg_us, uj);
	}
	if (calls_adc > 0) {
		uint32_t avg_us = (uint32_t)(total_us_adc / calls_adc);
		uint32_t uj = ENERGY_UJ(v, I_ADC_MA, total_us_adc);
		LOG_INF("ENERGY_PROFILE: adc total_us=%u calls=%u avg_us=%u total_uj=%u",
			(unsigned)total_us_adc, calls_adc, avg_us, uj);
	}
	if (calls_data_prep > 0) {
		uint32_t avg_us = (uint32_t)(total_us_data_prep / calls_data_prep);
		uint32_t uj = ENERGY_UJ(v, I_DATA_PREP_MA, total_us_data_prep);
		LOG_INF("ENERGY_PROFILE: data_prep total_us=%u calls=%u avg_us=%u total_uj=%u",
			(unsigned)total_us_data_prep, calls_data_prep, avg_us, uj);
	}
	total_us_inference = total_us_ble = total_us_spi_bma = total_us_adc = total_us_data_prep = 0;
	calls_inference = calls_ble = calls_spi_bma = calls_adc = calls_data_prep = 0;
}
#endif



//////////////////////////////////////////////////////////////////////////
//																		//
//						Embedded functionality for sensor				//
//																		//
//////////////////////////////////////////////////////////////////////////
// threads
#define STACKSIZE 2048
#define THREAD_READ_BMA_PRIORITY 7
K_SEM_DEFINE(bma400_ready, 0, 1);

// SPI
#define SPIOP	SPI_WORD_SET(8) | SPI_TRANSFER_MSB
struct spi_dt_spec spispec = SPI_DT_SPEC_GET(DT_NODELABEL(bma400), SPIOP, 0);
uint8_t rx_buffer[128] = {0};

// interrupt GPIO
#define int_NODE DT_ALIAS(int1)
static const struct gpio_dt_spec int_pin = GPIO_DT_SPEC_GET(int_NODE, gpios);
static struct gpio_callback int_cb_data;

// BMA400
#define FIFO_SAMPLES 25
#if USE_SLIDING_WINDOW
#define FIFO_BATCH  5
#else
#define FIFO_BATCH  25
#endif
#define FIFO_WATERMARK_LEVEL    UINT16_C(FIFO_BATCH*4)
#define FIFO_FULL_SIZE          UINT16_C(1024)
#define FIFO_SIZE               (FIFO_FULL_SIZE + BMA400_FIFO_BYTES_OVERREAD)

BMA400_INTF_RET_TYPE read_reg_spi(uint8_t reg_address, uint8_t* data, uint32_t len, void* intf_ptr);
BMA400_INTF_RET_TYPE write_reg_spi(uint8_t reg_address, const uint8_t* data, uint32_t len, void* intf_ptr);
void bma400_delay_us(uint32_t period, void *intf_ptr) {
	k_usleep(period);
}

static uint8_t              dev_addr    = 31;
struct bma400_dev           bma_sensor         = {
        .intf = BMA400_SPI_INTF,
        .intf_ptr = &dev_addr,
        .read = read_reg_spi,
        .write = write_reg_spi,
        .delay_us = bma400_delay_us,
        .read_write_len = 8
};

struct bma400_int_enable int_en;
struct bma400_fifo_data fifo_frame;
struct bma400_device_conf fifo_conf;
struct bma400_sensor_conf conf;
uint8_t fifo_buff[FIFO_SIZE] = { 0 };
struct bma400_fifo_sensor_data accel_data[FIFO_SAMPLES] = { { 0 } };

#if USE_SLIDING_WINDOW
static int16_t ring_x[FIFO_SAMPLES];
static int16_t ring_y[FIFO_SAMPLES];
static int16_t ring_z[FIFO_SAMPLES];
static int ring_count;
#endif

#if USE_SOLAR_GATEKEEPER
K_SEM_DEFINE(run_policy, 0, 1);
volatile bool last_tx_done = true;
#define THREAD_RUN_POLICY_PRIORITY 8
#endif

#if USE_ADC
static int16_t adc_buf;
static struct adc_sequence adc_seq;
static const struct adc_dt_spec adc_ch = ADC_DT_SPEC_GET(DT_PATH(zephyr_user));
/* Only run sensing when V above this (mV). Raise for more margin under solar (e.g. 1800). */
#define VOLTAGE_THRESHOLD_MV 800

static uint16_t get_voltage_mv(void)
{
	int val_mv;
	int err = adc_read(adc_ch.dev, &adc_seq);
	if (err < 0) return VOLTAGE_NO_DATA;
	val_mv = (int)adc_buf;
	err = adc_raw_to_millivolts_dt(&adc_ch, &val_mv);
	if (err < 0) return VOLTAGE_NO_DATA;
	if (val_mv < 0) return 0;
	if (val_mv > 65535) return 65535;
	return (uint16_t)val_mv;
}
#else
static uint16_t get_voltage_mv(void) { return VOLTAGE_NO_DATA; }
#endif

void bma_int_handler(const struct device *dev, struct gpio_callback *cb, uint32_t pins)
{
	k_sem_give(&bma400_ready);
}

/* Runs inference on demo_data (caller must fill it) and advertises. Sets adv_mfg_data from arguments and prediction. */
static void run_inference_and_advertise(int16_t last_x, int16_t last_y, int16_t last_z, uint16_t voltage_mv)
{
	const char *predictedLabel = NULL;
	float predictedScore = 0.0f;

	adv_mfg_data.x = last_x;
	adv_mfg_data.y = last_y;
	adv_mfg_data.z = last_z;
	adv_mfg_data.voltage_mv = voltage_mv;

	uint32_t start_cyc = k_cycle_get_32();
	int inferenceResult = ei_v3_classify_test(&predictedLabel, &predictedScore);
	uint32_t end_cyc = k_cycle_get_32();
	uint32_t delta_cyc = end_cyc - start_cyc;
	uint32_t latency_us = (uint32_t)((uint64_t)delta_cyc * 1000000ULL /
		CONFIG_SYS_CLOCK_HW_CYCLES_PER_SEC);
	(void)latency_us;

#if ENERGY_PROFILE
	total_us_inference += latency_us;
	calls_inference++;
	if (calls_inference >= ENERGY_PROFILE_INTERVAL) {
		energy_profile_print_and_reset(voltage_mv);
	}
#endif

	if (inferenceResult == 0 && predictedLabel != NULL) {
		uint8_t result_to_send = 0xFF;
		if      (strcmp(predictedLabel, "downstairs") == 0) result_to_send = 0;
		else if (strcmp(predictedLabel, "jump") == 0)       result_to_send = 1;
		else if (strcmp(predictedLabel, "running") == 0)    result_to_send = 2;
		else if (strcmp(predictedLabel, "sitting") == 0)   result_to_send = 3;
		else if (strcmp(predictedLabel, "standing") == 0)  result_to_send = 4;
		else if (strcmp(predictedLabel, "upstairs") == 0) result_to_send = 5;
		else if (strcmp(predictedLabel, "walking") == 0)   result_to_send = 6;
		adv_mfg_data.pred = result_to_send;
	}

#if ENERGY_PROFILE
	uint32_t t_ble = k_cycle_get_32();
#endif
	int adv_err = bt_le_adv_start(adv_param, ad, ARRAY_SIZE(ad), sd, ARRAY_SIZE(sd));
	if (adv_err) {
		LOG_ERR("adv_start err %d", adv_err);
	} else {
		k_sleep(K_MSEC(200));
		bt_le_adv_stop();
	}
	LOG_INF("ADV pred=%u", adv_mfg_data.pred);
#if ENERGY_PROFILE
	total_us_ble += CYCLES_TO_US(k_cycle_get_32() - t_ble);
	calls_ble++;
#endif
}

void thread_read_bma400(void)
{
	while (1) {

		k_sem_take(&bma400_ready, K_FOREVER);

#if USE_SOLAR_GATEKEEPER
		const struct device *spi_dev = DEVICE_DT_GET(DT_NODELABEL(spi1));
		pm_device_action_run(spi_dev, PM_DEVICE_ACTION_RESUME);
#endif

#if ENERGY_PROFILE
		uint32_t t0 = k_cycle_get_32();
#endif
		bma400_get_fifo_data(&fifo_frame, &bma_sensor);
		uint16_t accel_frames_req = FIFO_SAMPLES;
		bma400_extract_accel(&fifo_frame, accel_data, &accel_frames_req, &bma_sensor);
#if ENERGY_PROFILE
		total_us_spi_bma += CYCLES_TO_US(k_cycle_get_32() - t0);
		calls_spi_bma++;
		t0 = k_cycle_get_32();
#endif
		uint16_t batch_voltage = cached_voltage_mv;
#if !USE_SOLAR_GATEKEEPER
		batch_voltage = get_voltage_mv();
		cached_voltage_mv = batch_voltage;
#endif
#if ENERGY_PROFILE
		total_us_adc += CYCLES_TO_US(k_cycle_get_32() - t0);
		calls_adc++;
#endif

		int_en.type = BMA400_FIFO_WM_INT_EN;
		int_en.conf = BMA400_DISABLE;
		(void)bma400_enable_interrupt(&int_en, 1, &bma_sensor);
		bma400_set_power_mode(BMA400_MODE_SLEEP, &bma_sensor);

#if USE_SOLAR_GATEKEEPER
		pm_device_action_run(spi_dev, PM_DEVICE_ACTION_SUSPEND);
#endif

#if ENERGY_PROFILE
		uint32_t t_dp = k_cycle_get_32();
#endif
#if USE_SLIDING_WINDOW
		{
			int n = (int)accel_frames_req;
			if (n <= 0) goto after_inference;
			if (ring_count + n > FIFO_SAMPLES) {
				int drop = (ring_count + n) - FIFO_SAMPLES;
				memmove(ring_x, ring_x + drop, (FIFO_SAMPLES - drop) * sizeof(int16_t));
				memmove(ring_y, ring_y + drop, (FIFO_SAMPLES - drop) * sizeof(int16_t));
				memmove(ring_z, ring_z + drop, (FIFO_SAMPLES - drop) * sizeof(int16_t));
				ring_count = FIFO_SAMPLES - n;
			}
			for (int i = 0; i < n; i++) {
				ring_x[ring_count + i] = accel_data[i].x;
				ring_y[ring_count + i] = accel_data[i].y;
				ring_z[ring_count + i] = accel_data[i].z;
			}
			ring_count += n;
			if (ring_count > FIFO_SAMPLES) ring_count = FIFO_SAMPLES;
			if (ring_count < FIFO_SAMPLES) goto after_inference;
			for (int i = 0; i < FIFO_SAMPLES; i++) {
				demo_data[i]      = (float)ring_x[i];
				demo_data[i + 25] = (float)ring_z[i];
				demo_data[i + 50] = (float)ring_y[i];
			}
			run_inference_and_advertise(ring_x[FIFO_SAMPLES - 1], ring_y[FIFO_SAMPLES - 1],
						    ring_z[FIFO_SAMPLES - 1], batch_voltage);
		}
#else
		if (accel_frames_req >= FIFO_SAMPLES) {
			for (int i = 0; i < FIFO_SAMPLES; i++) {
				demo_data[i]      = (float)accel_data[i].x;
				demo_data[i + 25] = (float)accel_data[i].z;
				demo_data[i + 50] = (float)accel_data[i].y;
			}
			run_inference_and_advertise(accel_data[FIFO_SAMPLES - 1].x,
						    accel_data[FIFO_SAMPLES - 1].y,
						    accel_data[FIFO_SAMPLES - 1].z,
						    batch_voltage);
		}
#endif
after_inference:
#if ENERGY_PROFILE
		total_us_data_prep += CYCLES_TO_US(k_cycle_get_32() - t_dp);
		calls_data_prep++;
#endif

		(void)accel_frames_req;

#if USE_SOLAR_GATEKEEPER
		last_tx_done = true;
#else
		bma400_set_power_mode(BMA400_MODE_NORMAL, &bma_sensor);
		int_en.conf = BMA400_ENABLE;
		bma400_enable_interrupt(&int_en, 1, &bma_sensor);
#endif
	}

}


// Need to make sure stack is big enough to run NN code
K_THREAD_DEFINE(thread_read_bma400_id, STACKSIZE*4, thread_read_bma400, NULL, NULL, NULL, THREAD_READ_BMA_PRIORITY, 0, 0);

#if USE_SOLAR_GATEKEEPER
static void timer_run_policy_handler(struct k_timer *dummy)
{
	k_sem_give(&run_policy);
}

void thread_run_policy(void)
{
	while (1) {
		k_sem_take(&run_policy, K_FOREVER);
#if USE_ADC
		{
			uint16_t val_mv;
			if (!last_tx_done)
				continue;
			val_mv = get_voltage_mv();
			if (val_mv == VOLTAGE_NO_DATA) {
				LOG_ERR("ADC read failed");
				continue;
			}
			cached_voltage_mv = val_mv;
			LOG_INF("1. Read ADC: %d mv, scaled: %d mv", val_mv, val_mv*15/10);
			if (val_mv < VOLTAGE_THRESHOLD_MV)
				continue;
		}
#else
		if (!last_tx_done)
			continue;
#endif
		{
			const struct device *spi_dev = DEVICE_DT_GET(DT_NODELABEL(spi1));
			pm_device_action_run(spi_dev, PM_DEVICE_ACTION_RESUME);
			int_en.type = BMA400_FIFO_WM_INT_EN;
			int_en.conf = BMA400_ENABLE;
			bma400_set_power_mode(BMA400_MODE_NORMAL, &bma_sensor);
			bma400_enable_interrupt(&int_en, 1, &bma_sensor);
			last_tx_done = false;
			pm_device_action_run(spi_dev, PM_DEVICE_ACTION_SUSPEND);
		}
	}
}
K_THREAD_DEFINE(thread_run_policy_id, STACKSIZE, thread_run_policy, NULL, NULL, NULL, THREAD_RUN_POLICY_PRIORITY, 0, 0);
K_TIMER_DEFINE(timer_run_policy, timer_run_policy_handler, NULL);
#endif
// Function for SPI Read
BMA400_INTF_RET_TYPE read_reg_spi(uint8_t reg_address, uint8_t* data, uint32_t len, void* intf_ptr)
{
	int err;

	uint8_t tx_buffer = reg_address;
	struct spi_buf tx_spi_buf		= {.buf = (void *)&tx_buffer, .len = 1};
	struct spi_buf_set tx_spi_buf_set 	= {.buffers = &tx_spi_buf, .count = 1};
	struct spi_buf rx_spi_bufs 		= {.buf = rx_buffer, .len = len+1};
	struct spi_buf_set rx_spi_buf_set	= {.buffers = &rx_spi_bufs, .count = 1};

	err = spi_transceive_dt(&spispec, &tx_spi_buf_set, &rx_spi_buf_set);
	if (err < 0) {
		LOG_ERR("spi_transceive_dt() failed, err: %d, 0x%02X", err,tx_buffer);
		// return err;
	}

	for(int i = 0; i < len; i++) {
		data[i] = rx_buffer[i+1];
	}

	return 0;
}
// Func for SPI Write
BMA400_INTF_RET_TYPE write_reg_spi(uint8_t reg_address, const uint8_t* data, uint32_t len, void* intf_ptr)
{
	int err;

	uint8_t tx_buf[2] = {reg_address, data[0]};
	struct spi_buf	tx_spi_buf 		= {.buf = tx_buf, .len = len+1};
	struct spi_buf_set tx_spi_buf_set	= {.buffers = &tx_spi_buf, .count = 1};

	err = spi_write_dt(&spispec, &tx_spi_buf_set);
	if (err < 0) {
		LOG_ERR("spi_write_dt() failed, err %d", err);
		return err;
	}

	return 0;
}

// Init Functions
// for FIFO Buffer Reads
void init_fifo_watermark()
{
	conf.type = BMA400_ACCEL;
	int8_t rslt = bma400_get_sensor_conf(&conf, 1, &bma_sensor);

	conf.param.accel.odr = BMA400_ODR_25HZ;
	conf.param.accel.range = BMA400_RANGE_4G;
	conf.param.accel.data_src = BMA400_DATA_SRC_ACCEL_FILT_1;

	rslt = bma400_set_sensor_conf(&conf, 1, &bma_sensor);

	fifo_conf.type = BMA400_FIFO_CONF;

	rslt = bma400_get_device_conf(&fifo_conf, 1, &bma_sensor);

	fifo_conf.param.fifo_conf.conf_regs = BMA400_FIFO_8_BIT_EN
										| BMA400_FIFO_X_EN
										| BMA400_FIFO_Y_EN
										| BMA400_FIFO_Z_EN
										| BMA400_FIFO_AUTO_FLUSH;
	fifo_conf.param.fifo_conf.conf_status = BMA400_ENABLE;
	fifo_conf.param.fifo_conf.fifo_watermark = FIFO_WATERMARK_LEVEL;
	fifo_conf.param.fifo_conf.fifo_wm_channel = BMA400_INT_CHANNEL_1;

	rslt = bma400_set_device_conf(&fifo_conf, 1, &bma_sensor);

	fifo_frame.data = fifo_buff;
	fifo_frame.length = FIFO_SIZE;

	int_en.type = BMA400_FIFO_WM_INT_EN;
#if USE_SOLAR_GATEKEEPER
	int_en.conf = BMA400_DISABLE;
	bma400_set_power_mode(BMA400_MODE_SLEEP, &bma_sensor);
	bma400_enable_interrupt(&int_en, 1, &bma_sensor);
#else
	int_en.conf = BMA400_ENABLE;
	bma400_set_power_mode(BMA400_MODE_NORMAL, &bma_sensor);
	rslt = bma400_enable_interrupt(&int_en, 1, &bma_sensor);
#endif
}

int main(void)
{
	int err;

	// #region agent log
	LOG_INF("App started, RTT ok");
	// #endregion

	err = spi_is_ready_dt(&spispec);
	if (!err) {
		LOG_ERR("Error: SPI device is not ready, err: %d", err);
		return 0;
	}

	if (!device_is_ready(int_pin.port)) {
		LOG_ERR("Device not Ready");
		return -1;
	}

	err = gpio_pin_configure_dt(&int_pin, GPIO_INPUT);
	if (err < 0) {
		LOG_ERR("Error: GPIO device is not ready, err: %d", err);
		return -1;
	}
#if USE_ADC
	adc_seq.buffer = &adc_buf;
	adc_seq.buffer_size = sizeof(adc_buf);
	if (!adc_is_ready_dt(&adc_ch)) {
		LOG_ERR("ADC not ready");
		return -1;
	}
	err = adc_channel_setup_dt(&adc_ch);
	if (err < 0) {
		LOG_ERR("ADC channel setup failed (%d)", err);
		return -1;
	}
	err = adc_sequence_init_dt(&adc_ch, &adc_seq);
	if (err < 0) {
		LOG_ERR("ADC sequence init failed (%d)", err);
		return -1;
	}
	cached_voltage_mv = get_voltage_mv();
#endif

	bt_addr_le_t addr;
	err = bt_addr_le_from_str("FF:EE:DD:CC:BB:AD", "random", &addr);
	err = bt_id_create(&addr, NULL);
	err = bt_enable(NULL);
	if(err){
		return -1;
	}

	err = gpio_pin_interrupt_configure_dt(&int_pin, GPIO_INT_EDGE_RISING);

	gpio_init_callback(&int_cb_data, bma_int_handler, BIT(int_pin.pin));
	gpio_add_callback(int_pin.port, &int_cb_data);

	bma400_init(&bma_sensor);
	init_fifo_watermark();

#if USE_SOLAR_GATEKEEPER
	const struct device *spi_dev = DEVICE_DT_GET(DT_NODELABEL(spi1));
	pm_device_action_run(spi_dev, PM_DEVICE_ACTION_SUSPEND);
	k_timer_start(&timer_run_policy, K_MSEC(SOLAR_RUN_POLICY_MS), K_MSEC(SOLAR_RUN_POLICY_MS));
#else
	/* If the interrupt pin is already high after init, kick the semaphore manually
	 * This handles the case where BMA400 has stale FIFO data from a previous session
	 * (chip-erase only erases the nRF, not the BMA400) */
	if (gpio_pin_get_dt(&int_pin)) {
		k_sem_give(&bma400_ready);
	}
#endif
	

	while(1){
		k_sleep(K_FOREVER);
	}

	return 0;
}
```

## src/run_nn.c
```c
/**
 * run_nn.c - Bridge from BMA400 accel data to Edge Impulse classifier.
 * Fills demo_data, calls ei_v4_classify_test, sets biggest_idx.
 */
#include "run_nn.h"
#include "glueV4.h"
#include <string.h>

int biggest_idx = 0;
float biggest_score = 0.0f;

void run_nn_infer(struct bma400_fifo_sensor_data *accel_data, uint16_t count)
{
	if (count < 25) {
		biggest_idx = 0;
		biggest_score = 0.0f;
		return;
	}

	/* Copy 25 samples into demo_data: X at 0-24, Z at 25-49, Y at 50-74 (matches main.c layout) */
	for (int i = 0; i < 25; i++) {
		demo_data[i]      = (float)accel_data[i].x;
		demo_data[i + 25] = (float)accel_data[i].z;
		demo_data[i + 50] = (float)accel_data[i].y;
	}

	const char *label = NULL;
	float score = 0.0f;
	int err = ei_v4_classify_test(&label, &score);

	if (err != 0 || label == NULL) {
		biggest_idx = 0;
		biggest_score = 0.0f;
		return;
	}


				   if (strcmp(label, "class 1") == 0)
                       biggest_idx = 0;  /* idle     */
                   else if (strcmp(label, "class 2") == 0)
                       biggest_idx = 1;  /* walk   */
                   else if (strcmp(label, "class 3") == 0)
                       biggest_idx = 2;  /* sixseven    */
                   else if (strcmp(label, "class 4") == 0)
                       biggest_idx = 3;  /* wave  */
                   else if (strcmp(label, "class 5") == 0)
                       biggest_idx = 4;  /* clap  */


	

	else biggest_idx = 0;
	biggest_score = score;
}
```
